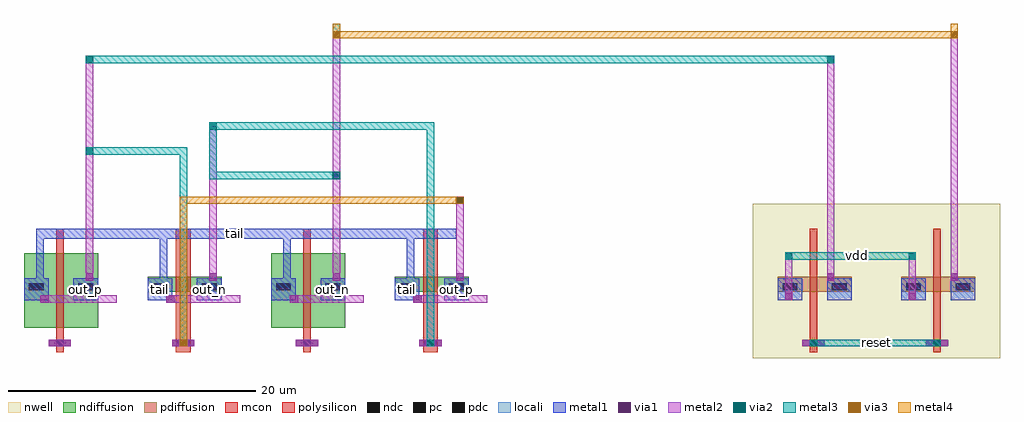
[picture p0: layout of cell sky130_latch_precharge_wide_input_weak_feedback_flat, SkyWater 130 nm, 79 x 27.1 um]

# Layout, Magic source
magic
tech sky130A
<< nwell >>
rect 6200 150 8200 1400
<< pdiffusion >>
rect 6400 690 7000 810
rect 7400 690 8000 810
<< ndiffusion >>
rect 300 400 900 1000
rect 1300 690 1900 810
rect 2300 400 2900 1000
rect 3300 690 3900 810
<< polysilicon >>
rect 560 200 620 1200
rect 1530 200 1650 1200
rect 2560 200 2620 1200
rect 3530 200 3650 1200
rect 6660 200 6720 1200
rect 7660 200 7720 1200
<< pdc >>
rect 6440 700 6560 760
rect 6840 700 6960 760
rect 7440 700 7560 760
rect 7840 700 7960 760
<< ndc >>
rect 340 700 460 760
rect 740 700 860 760
rect 1340 700 1460 760
rect 1740 700 1860 760
rect 2340 700 2460 760
rect 2740 700 2860 760
rect 3340 700 3460 760
rect 3740 700 3860 760
<< pc >>
rect 560 250 620 300
rect 1560 250 1620 300
rect 2560 250 2620 300
rect 3560 250 3620 300
rect 6660 250 6720 300
rect 7660 250 7720 300
<< locali >>
rect 560 250 620 300
rect 1560 250 1620 300
rect 2560 250 2620 300
rect 3560 250 3620 300
rect 6660 250 6720 300
rect 7660 250 7720 300
<< mcon >>
rect 560 250 620 300
rect 1560 250 1620 300
rect 2560 250 2620 300
rect 3560 250 3620 300
rect 340 700 460 760
rect 740 700 860 760
rect 1340 700 1460 760
rect 1740 700 1860 760
rect 2340 700 2460 760
rect 2740 700 2860 760
rect 3340 700 3460 760
rect 3740 700 3860 760
rect 6440 700 6560 760
rect 6840 700 6960 760
rect 7440 700 7560 760
rect 7840 700 7960 760
rect 6660 250 6720 300
rect 7660 250 7720 300
<< metal1 >>
rect 540 250 640 300
rect 1540 250 1640 300
rect 2540 250 2640 300
rect 3540 250 3640 300
rect 300 620 500 800
rect 700 620 900 800
rect 1300 620 1500 800
rect 1700 620 1900 800
rect 2300 620 2500 800
rect 2700 620 2900 800
rect 3300 620 3500 800
rect 3700 620 3900 800
rect 400 1120 3800 1200
rect 400 760 460 1160
rect 1400 760 1460 1160
rect 2400 760 2460 1160
rect 3400 760 3460 1160
rect 6400 620 6600 800
rect 6800 620 7000 800
rect 7400 620 7600 800
rect 7800 620 8000 800
rect 6660 250 6720 300
rect 7660 250 7720 300
rect 6400 620 6600 680
rect 7400 620 7600 680
<< metal2 >>
rect 500 250 680 300
rect 1500 250 1680 300
rect 2500 250 2680 300
rect 3500 250 3680 300
rect 430 600 1050 660
rect 1450 600 2050 660
rect 2450 600 3050 660
rect 3450 600 4050 660
rect 800 780 860 1830
rect 1800 780 1860 2030
rect 2800 780 2860 1630
rect 3800 780 3860 1430
rect 6600 250 6780 300
rect 7600 250 7780 300
rect 6460 620 6520 1000
rect 7460 620 7520 1000
rect 6800 780 6860 2600
rect 800 780 860 2600
rect 7800 780 7860 2800
rect 2800 780 2860 2800
<< metal3 >>
rect 1560 250 1620 1860
rect 3560 250 3620 2060
rect 800 1800 1560 1860
rect 1800 2000 3560 2060
rect 1800 1600 2800 1660
rect 1800 1600 1860 2060
rect 6460 950 7520 1010
rect 800 2540 860 2600
rect 800 2540 6800 2600
rect 6800 2540 6860 2600
rect 2800 2740 2860 2860
rect 6660 250 7720 300
<< metal4 >>
rect 1560 250 1620 1460
rect 1560 1400 3800 1460
rect 2800 2740 2860 2860
rect 2800 2740 7800 2800
rect 7800 2740 7860 2860
<< via1 >>
rect 500 250 680 300
rect 1500 250 1680 300
rect 2500 250 2680 300
rect 3500 250 3680 300
rect 430 600 500 660
rect 1450 600 1520 660
rect 2450 600 2520 660
rect 3450 600 3520 660
rect 800 780 860 840
rect 1800 780 1860 840
rect 2800 780 2860 840
rect 3800 780 3860 840
rect 6600 250 6780 300
rect 7600 250 7780 300
rect 6460 620 6520 680
rect 7460 620 7520 680
rect 6800 780 6860 840
rect 800 780 860 840
rect 7800 780 7860 840
rect 2800 780 2860 840
<< via2 >>
rect 1560 250 1620 300
rect 3560 250 3620 300
rect 800 1800 860 1860
rect 1800 2000 1860 2060
rect 2800 1600 2860 1660
rect 3800 1400 3860 1460
rect 6460 950 6520 1010
rect 7460 950 7520 1010
rect 6800 2540 6860 2600
rect 800 2540 860 2600
rect 7800 2740 7860 2800
rect 2800 2740 2860 2800
rect 6660 250 6720 300
rect 7660 250 7720 300
<< via3 >>
rect 1560 250 1620 300
rect 3800 1400 3860 1460
rect 2800 2740 2860 2800
rect 7800 2740 7860 2800
<< labels >>
rlabel metal1 1800 1120 2200 1200 0 tail
port 9 nsew
rlabel metal1 700 620 900 800 0 out_p
port 1 nsew
rlabel metal1 1300 620 1500 800 0 tail
port 2 nsew
rlabel metal1 2700 620 2900 800 0 out_n
port 3 nsew
rlabel metal1 3300 620 3500 800 0 tail
port 4 nsew
rlabel metal1 1700 620 1900 800 0 out_n
port 10 nsew
rlabel metal1 3700 620 3900 800 0 out_p
port 11 nsew
rlabel polysilicon 560 300 620 1200 0 sense_p
port 5 nsew
rlabel polysilicon 1530 300 1650 1200 0 out_p
port 6 nsew
rlabel polysilicon 2560 300 2620 1200 0 sense_n
port 7 nsew
rlabel polysilicon 3530 300 3650 1200 0 out_n
port 8 nsew
rlabel metal3 7000 250 7400 300 0 reset
port 20 nsew
rlabel metal3 6900 950 7200 1010 0 vdd
port 21 nsew
<< end >>
